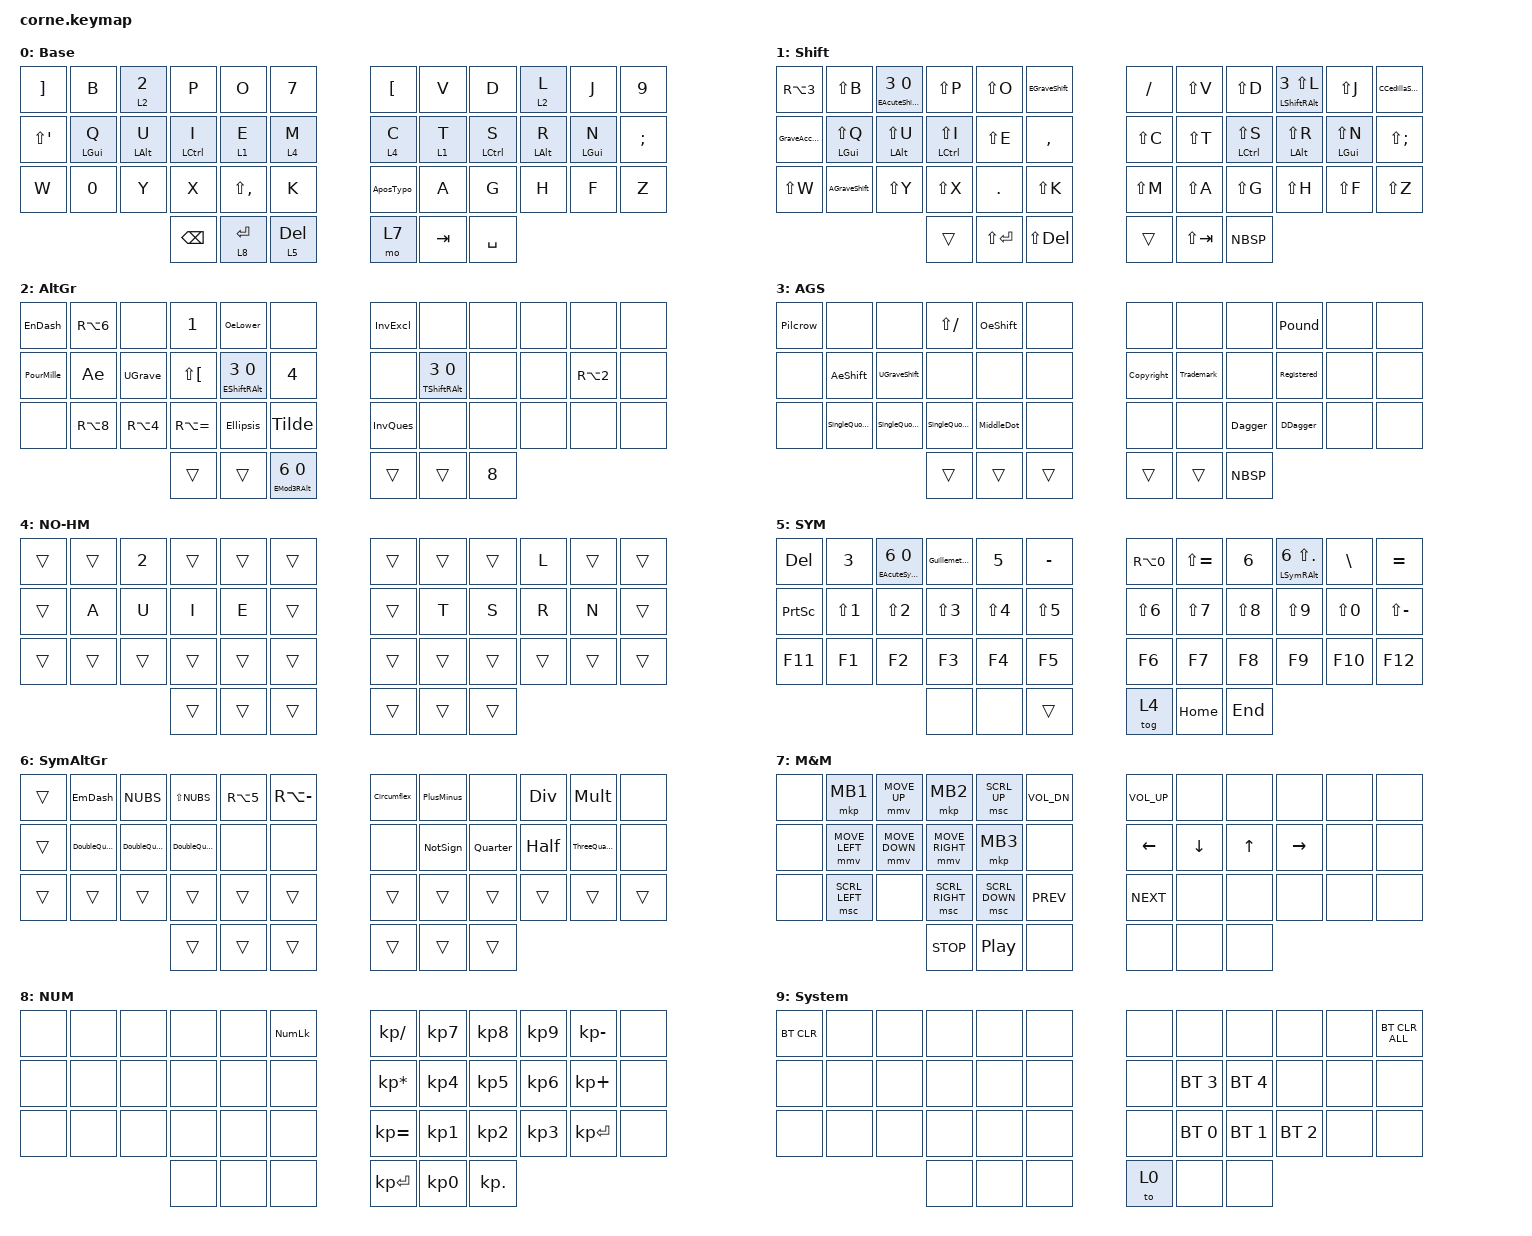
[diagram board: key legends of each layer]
#include <behaviors.dtsi>
#include <dt-bindings/zmk/bt.h>
#include <dt-bindings/zmk/keys.h>
#include <dt-bindings/zmk/pointing.h>

#define DEF 0
#define NAV 1
#define SYM 2
#define ADJ 3
#define EXTRA 4
#define MACRO_TAP_MS 10

#define ALT_CODE(name, n1, n2, n3, n4)                                                     \
    name: name {                                                                           \
        compatible = "zmk,behavior-macro";                                                 \
        #binding-cells = <0>;                                                              \
        bindings =                                                                         \
            <&macro_press>,                                                                \
            <&kp LALT>,                                                                    \
            <&macro_tap>,                                                                  \
            <&kp KP_NUMBER_##n1 &kp KP_NUMBER_##n2 &kp KP_NUMBER_##n3 &kp KP_NUMBER_##n4>, \
            <&macro_release>,                                                              \
            <&kp LALT>;                                                                    \
                                                                                           \
        label = #name;                                                                     \
        tap-ms = <MACRO_TAP_MS>;                                                           \
    };
#define HT(name, hold, tap)                   \
    name: name {                              \
        compatible = "zmk,behavior-hold-tap"; \
        label = #name;                        \
        bindings = <hold>, <tap>;             \
                                              \
        #binding-cells = <2>;                 \
        tapping-term-ms = <200>;              \
    };

/ {
    behaviors {
        hm: homerow_mods {
            compatible = "zmk,behavior-hold-tap";
            label = "HOMEROW_MODS";
            #binding-cells = <2>;
            tapping-term-ms = <200>;
            quick_tap_ms = <0>;
            flavor = "tap-preferred";
            bindings = <&kp>, <&kp>;

            quick-tap-ms = <180>;
            global-quick-tap;
        };

        para: para {
            compatible = "zmk,behavior-tap-dance";
            label = "PARA";
            #binding-cells = <0>;
            bindings = <&kp LEFT_PARENTHESIS>, <&kp RIGHT_PARENTHESIS>;
        };

        caps: caps {
            compatible = "zmk,behavior-caps-word";
            label = "CAPS";
            #binding-cells = <0>;
            continue-list = <MINUS BACKSPACE>;
        };

        paraless: paraless {
            compatible = "zmk,behavior-mod-morph";
            label = "PARALESS";
            bindings = <&kp LEFT_PARENTHESIS>, <&kp LESS_THAN>;

            #binding-cells = <0>;
            mods = <(MOD_LSFT)>;
        };

        paragreat: paragreat {
            compatible = "zmk,behavior-mod-morph";
            label = "PARAGREAT";
            bindings = <&kp RIGHT_PARENTHESIS>, <&kp GREATER_THAN>;

            #binding-cells = <0>;
            mods = <(MOD_LSFT)>;
        };

        HT(EAcuteShiftRAlt, &mo, &EAcuteShift)
        HT(LShiftRAlt, &mo, &kp)
        HT(EShiftRAlt, &mo, &Euro)
        HT(TShiftRAlt, &mo, &none)
        HT(EAcuteSymRAlt, &mo, &GuillemetLeft)
        HT(LSymRAlt, &mo, &kp)
        HT(EMod3RAlt, &mo, &trans)
    };

    combos {
        compatible = "zmk,combos";

        delete {
            bindings = <&kp DELETE>;
            key-positions = <41 40>;
            layers = <0>;
        };

        pgup {
            bindings = <&kp PAGE_UP>;
            key-positions = <28 29>;
            layers = <0>;
        };

        pgdown {
            bindings = <&kp PAGE_DOWN>;
            key-positions = <30 31>;
            layers = <0>;
        };

        ScrCpy {
            bindings = <&kp PSCRN>;
            key-positions = <12 13>;
            layers = <0>;
        };

        home {
            bindings = <&kp HOME>;
            key-positions = <37 38>;
            layers = <0>;
        };

        end {
            bindings = <&kp END>;
            key-positions = <40 39>;
            layers = <0>;
        };

        SysLayer {
            bindings = <&mo 9>;
            key-positions = <38 39>;
        };

        reset_layers {
            bindings = <&to 0>;
            key-positions = <24 35>;
        };

        escape {
            bindings = <&kp ESC>;
            key-positions = <36 37>;
        };

        LeftShift {
            bindings = <&kp LSHFT>;
            key-positions = <16 17>;
        };

        RightShift {
            bindings = <&kp RSHFT>;
            key-positions = <18 19>;
        };
    };

    //

    macros {
        ALT_CODE(Ae, 0, 2, 3, 0)               // æ
        ALT_CODE(AeShift, 0, 1, 9, 8)          // Æ
        ALT_CODE(AposTypo, 0, 1, 4, 6)         // ’
        ALT_CODE(CCedillaShift, 0, 1, 9, 9)    // Ç
        ALT_CODE(EAcuteShift, 0, 2, 0, 1)      // É
        ALT_CODE(Ellipsis, 0, 1, 3, 3)         // …
        ALT_CODE(EmDash, 0, 1, 5, 1)           // — Em dash
        ALT_CODE(EnDash, 0, 1, 5, 0)           // – En dash
        ALT_CODE(Euro, 0, 1, 2, 8)             // – En dash
        ALT_CODE(GraveAccent, 0, 0, 9, 6)      // `
        ALT_CODE(InvExcl, 0, 1, 6, 1)          // ¡
        ALT_CODE(InvQues, 0, 1, 9, 1)          // ¿
        ALT_CODE(OeLower, 0, 1, 5, 6)          // œ
        ALT_CODE(OeShift, 0, 1, 4, 0)          // Œ
        ALT_CODE(Pilcrow, 0, 1, 8, 2)          // ¶
        ALT_CODE(PourMille, 0, 1, 3, 7)        // ’
        ALT_CODE(Tilde, 0, 1, 2, 6)            // ~
        ALT_CODE(Pound, 0, 1, 5, 6)            // £
        ALT_CODE(Copyright, 0, 1, 6, 9)        // ©
        ALT_CODE(Trademark, 0, 1, 5, 3)        // ™
        ALT_CODE(Registered, 0, 1, 7, 4)       // ®
        ALT_CODE(SingleQuoteLow, 0, 1, 3, 0)   // ‚
        ALT_CODE(SingleQuoteLeft, 0, 1, 4, 5)  // ‘
        ALT_CODE(SingleQuoteRight, 0, 1, 4, 6) // ’
        ALT_CODE(MiddleDot, 0, 1, 8, 3)        // ·
        ALT_CODE(NBSP, 0, 1, 6, 0)             // &nbsp;
        ALT_CODE(Dagger, 0, 1, 3, 4)           // †
        ALT_CODE(DDagger, 0, 1, 3, 5)          // ‡
        ALT_CODE(GuillemetLeft, 0, 1, 7, 1)    // «
        ALT_CODE(GuillemetRight, 0, 1, 8, 7)   // »
        ALT_CODE(Circumflex, 0, 0, 9, 4)       // ^
        ALT_CODE(PlusMinus, 0, 1, 7, 7)        // ±
        ALT_CODE(Div, 0, 2, 4, 7)              // ÷
        ALT_CODE(Mult, 0, 2, 1, 5)             // ×
        ALT_CODE(DoubleQuoteLow, 0, 1, 3, 2)   // „
        ALT_CODE(DoubleQuoteLeft, 0, 1, 4, 7)  // “
        ALT_CODE(DoubleQuoteRight, 0, 1, 4, 8) // ”
        ALT_CODE(NotSign, 0, 1, 7, 2)          // ¬
        ALT_CODE(Quarter, 0, 1, 8, 8)          // ¼
        ALT_CODE(Half, 0, 1, 8, 9)             // ½
        ALT_CODE(ThreeQuarters, 0, 1, 9, 0)    // ¾

        AGraveShift: AGraveShift {
            compatible = "zmk,behavior-macro";
            #binding-cells = <0>;
            bindings = <&kp RA(N7) &kp LS(Q)>;
            label = "À";
        };

        EGraveShift: EGraveShift {
            compatible = "zmk,behavior-macro";
            #binding-cells = <0>;
            bindings = <&kp RA(N7) &kp LS(E)>;
            label = "È";
        };

        UGrave: UGrave {
            compatible = "zmk,behavior-macro";
            #binding-cells = <0>;
            bindings = <&kp RA(N7) &kp U>;
            label = "ù";
        };

        UGraveShift: UGraveShift {
            compatible = "zmk,behavior-macro";
            #binding-cells = <0>;
            bindings = <&kp RA(N7) &kp LS(U)>;
            label = "Ù";
        };
    };

    keymap {
        compatible = "zmk,keymap";

        BASE {
            display-name = "Base";

            // ------------------------------------------------------------------------------
            // |  $  |  b  |  é  |  p  |  o  |  è  |   |  ^  |  v   |  d  |  l  |  j  |  ç  |
            // |  %  |  a  |  u  |  i  |  e  |  ,  |   |  c  |  t   |  s  |  r  |  n  |  m  |
            // |  z  |  à  |  y  |  x  |  .  |  k  |   |  ’  |  q   |  g  |  h  |  f  |  w  |
            //                  | BKSP | RET | SYM |   | M&M | TAB  | SPC |

            bindings = <
&kp RIGHT_BRACKET  &kp B           &lt 2 NUMBER_2  &kp P          &kp O          &kp N7       &kp LEFT_BRACKET  &kp V    &kp D               &lt 2 L         &kp J           &kp N9
&kp LS(SQT)        &hm LEFT_GUI Q  &hm LEFT_ALT U  &hm LCTRL I    &lt 1 E        &lt 4 M      &lt 4 C           &lt 1 T  &hm LEFT_CONTROL S  &hm LEFT_ALT R  &hm LEFT_GUI N  &kp SEMICOLON
&kp W              &kp N0          &kp Y           &kp X          &kp LS(COMMA)  &kp K        &AposTypo         &kp A    &kp G               &kp H           &kp F           &kp Z
                                                   &kp BACKSPACE  &lt 8 ENTER    &lt 5 DEL    &mo 7             &kp TAB  &kp SPACE
            >;
        };

        Shift {
            display-name = "Shift";

            // ------------------------------------------------------------------------------
            // |  #  |  B  |  É  |  P  |  O  |  È  |   |  !  |  V   |  D  |  L  |  J  |  Ç  |
            // |  `  |  A  |  U  |  I  |  E  |  ;  |   |  C  |  T   |  S  |  R  |  N  |  M  |
            // |  Z  |  À  |  Y  |  X  |  :  |  K  |   |  ?  |  Q   |  G  |  H  |  F  |  W  |
            //                   |     |     |     |   |     |      |     |

            bindings = <
&kp RA(N3)    &kp LS(B)       &EAcuteShiftRAlt 3 0  &kp LS(P)               &kp LS(O)      &EGraveShift    &kp SLASH  &kp LS(V)    &kp LS(D)               &LShiftRAlt 3 LS(L)  &kp LS(J)       &CCedillaShift
&GraveAccent  &hm LGUI LS(Q)  &hm LALT LS(U)        &hm LEFT_CONTROL LS(I)  &kp LS(E)      &kp COMMA       &kp LS(C)  &kp LS(T)    &hm LEFT_CONTROL LS(S)  &hm LALT LS(R)       &hm LGUI LS(N)  &kp LS(SEMICOLON)
&kp LS(W)     &AGraveShift    &kp LS(Y)             &kp LS(X)               &kp PERIOD     &kp LS(K)       &kp LS(M)  &kp LS(A)    &kp LS(G)               &kp LS(H)            &kp LS(F)       &kp LS(Z)
                                                    &trans                  &kp LS(ENTER)  &kp LS(DEL)     &trans     &kp LS(TAB)  &NBSP
            >;
        };

        AltGr {
            display-name = "AltGr";

            // ------------------------------------------------------------------------------
            // |  –  |  |  |  ´  |  &  |  œ  |  `  |   |  ¡  |      |     |     |     |     |
            // |  ‰  |  æ  |  ù  |  ¨  |  €  |  '  |   |     |      |     |     |  ~  |     |
            // |     |  \  |  {  |  }  |  …  |  ~  |   |  ¿  |      |     |     |     |     |
            //                   |     |     |     |   |     |      |  _  |

            bindings = <
&EnDash     &kp RA(N6)  &none       &kp N1                &OeLower         &none             &InvExcl  &none            &none   &none  &none       &none
&PourMille  &Ae         &UGrave     &kp LS(LEFT_BRACKET)  &EShiftRAlt 3 0  &kp N4            &none     &TShiftRAlt 3 0  &none   &none  &kp RA(N2)  &none
&none       &kp RA(N8)  &kp RA(N4)  &kp RA(EQUAL)         &Ellipsis        &Tilde            &InvQues  &none            &none   &none  &none       &none
                                    &trans                &trans           &EMod3RAlt 6 0    &trans    &trans           &kp N8
            >;
        };

        AGS {
            display-name = "AGS";

            // ------------------------------------------------------------------------------
            // |  ¶  |     |     |  §  |  Œ  |     |   |     |      |     |  £  |     |     |
            // |     |  Æ  |  Ù  |     |     |     |   |  ©  |  ™   |     |  ®  |     |     |
            // |     |  ‚  |  ‘  |  ’  |  ·  |     |   |     |      |  †  |  ‡  |     |     |
            //                   |     |     |     |   |     |      |     |

            bindings = <
&Pilcrow  &none            &none             &kp LS(SLASH)      &OeShift    &none     &none       &none       &none    &Pound       &none  &none
&none     &AeShift         &UGraveShift      &none              &none       &none     &Copyright  &Trademark  &none    &Registered  &none  &none
&none     &SingleQuoteLow  &SingleQuoteLeft  &SingleQuoteRight  &MiddleDot  &none     &none       &none       &Dagger  &DDagger     &none  &none
                                             &trans             &trans      &trans    &trans      &trans      &NBSP
            >;
        };

        NO_HM {
            display-name = "NO-HM";

            // ------------------------------------------------------------------------------
            // |     |     |  é  |     |     |     |   |     |      |     |  l  |     |     |
            // |     |  a  |  u  |  i  |  e  |     |   |     |  t   |  s  |  r  |  n  |     |
            // |     |     |     |     |     |     |   |     |      |     |     |     |     |
            //                   |     |     |     |   |     |      |     |

            bindings = <
&trans  &trans  &kp N2  &trans  &trans  &trans    &trans  &trans  &trans  &kp L   &trans  &trans
&trans  &kp A   &kp U   &kp I   &kp E   &trans    &trans  &kp T   &kp S   &kp R   &kp N   &trans
&trans  &trans  &trans  &trans  &trans  &trans    &trans  &trans  &trans  &trans  &trans  &trans
                        &trans  &trans  &trans    &trans  &trans  &trans
            >;
        };

        SYM {
            display-name = "SYM";

            // -------------------------------------------------------------------------------
            // |  DEL |  "  |  «  |  »  |  (  |  )  |   |  @  |  +   |  -  |  /  |  *  |  =  |
            // | PRSC |  1  |  2  |  3  |  4  |  5  |   |  6  |  7   |  8  |  9  |  0  |  °  |
            // |  F11 | F1  | F2  | F3  | F4  | F5  |   | F6  |  F7  | F8  | F9  | F10 | F12 |
            //                    |     |     |     |   |     | HOME | END |

            bindings = <
&kp DEL          &kp N3      &EAcuteSymRAlt 6 0  &GuillemetRight  &kp N5      &kp MINUS     &kp RA(N0)  &kp LS(EQUAL)  &kp N6      &LSymRAlt 6 LS(PERIOD)  &kp BACKSLASH  &kp EQUAL
&kp PRINTSCREEN  &kp LS(N1)  &kp LS(N2)          &kp LS(N3)       &kp LS(N4)  &kp LS(N5)    &kp LS(N6)  &kp LS(N7)     &kp LS(N8)  &kp LS(N9)              &kp LS(N0)     &kp LS(MINUS)
&kp F11          &kp F1      &kp F2              &kp F3           &kp F4      &kp F5        &kp F6      &kp F7         &kp F8      &kp F9                  &kp F10        &kp F12
                                                 &none            &none       &trans        &tog 4      &kp HOME       &kp END
            >;
        };

        SymbolsAltGr {
            label = "SymAltGr";

            // -------------------------------------------------------------------------------
            // |  DEL |  —  |  <  |  >  |  [  |  ]  |   |  ^  |  ±   |     |  ÷  |  ×  |  ≠  |
            // | PRSC |  „  |  “  |  ”  |     |     |   |     |  ¬   |  ¼  |  ½  |  ¾  |     |
            // |  F11 | F1  | F2  | F3  | F4  | F5  |   | F6  |  F7  | F8  | F9  | F10 | F12 |
            //                    |     |     |     |   |     | HOME | END |

            bindings = <
&trans  &EmDash          &kp NUBS          &kp LS(NUBS)       &kp RA(N5)  &kp RA(MINUS)    &Circumflex  &PlusMinus  &none     &Div    &Mult           &none
&trans  &DoubleQuoteLow  &DoubleQuoteLeft  &DoubleQuoteRight  &none       &none            &none        &NotSign    &Quarter  &Half   &ThreeQuarters  &none
&trans  &trans           &trans            &trans             &trans      &trans           &trans       &trans      &trans    &trans  &trans          &trans
                                           &trans             &trans      &trans           &trans       &trans      &trans
            >;
        };

        MouseMedia {
            bindings = <
&none  &mkp MB1        &mmv MOVE_UP    &mkp MB2         &msc SCRL_UP      &kp C_VOL_DN    &kp C_VOL_UP  &none     &none   &none      &none  &none
&none  &mmv MOVE_LEFT  &mmv MOVE_DOWN  &mmv MOVE_RIGHT  &mkp MB3          &none           &kp LEFT      &kp DOWN  &kp UP  &kp RIGHT  &none  &none
&none  &msc SCRL_LEFT  &none           &msc SCRL_RIGHT  &msc SCRL_DOWN    &kp C_PREV      &kp C_NEXT    &none     &none   &none      &none  &none
                                       &kp C_STOP       &kp C_PLAY_PAUSE  &none           &none         &none     &none
            >;

            label = "M&M";
        };

        NUM {
            display-name = "NUM";
            bindings = <
&none  &none  &none  &none  &none  &kp KP_NUMLOCK    &kp KP_DIVIDE    &kp KP_NUMBER_7  &kp KP_NUMBER_8  &kp KP_NUMBER_9  &kp KP_MINUS  &none
&none  &none  &none  &none  &none  &none             &kp KP_MULTIPLY  &kp KP_NUMBER_4  &kp KP_NUMBER_5  &kp KP_NUMBER_6  &kp KP_PLUS   &none
&none  &none  &none  &none  &none  &none             &kp KP_EQUAL     &kp KP_NUMBER_1  &kp KP_NUMBER_2  &kp KP_NUMBER_3  &kp KP_ENTER  &none
                     &none  &none  &none             &kp KP_ENTER     &kp KP_NUMBER_0  &kp KP_DOT
            >;
        };

        SYS {
            bindings = <
&bt BT_CLR  &none  &none  &none  &none  &none    &none  &none         &none         &none         &none  &bt BT_CLR_ALL
&none       &none  &none  &none  &none  &none    &none  &bt BT_SEL 3  &bt BT_SEL 4  &none         &none  &none
&none       &none  &none  &none  &none  &none    &none  &bt BT_SEL 0  &bt BT_SEL 1  &bt BT_SEL 2  &none  &none
                          &none  &none  &none    &to 0  &none         &none
            >;

            label = "System";
        };
    };

    conditional_layers { compatible = "zmk,conditional-layers"; };
};
